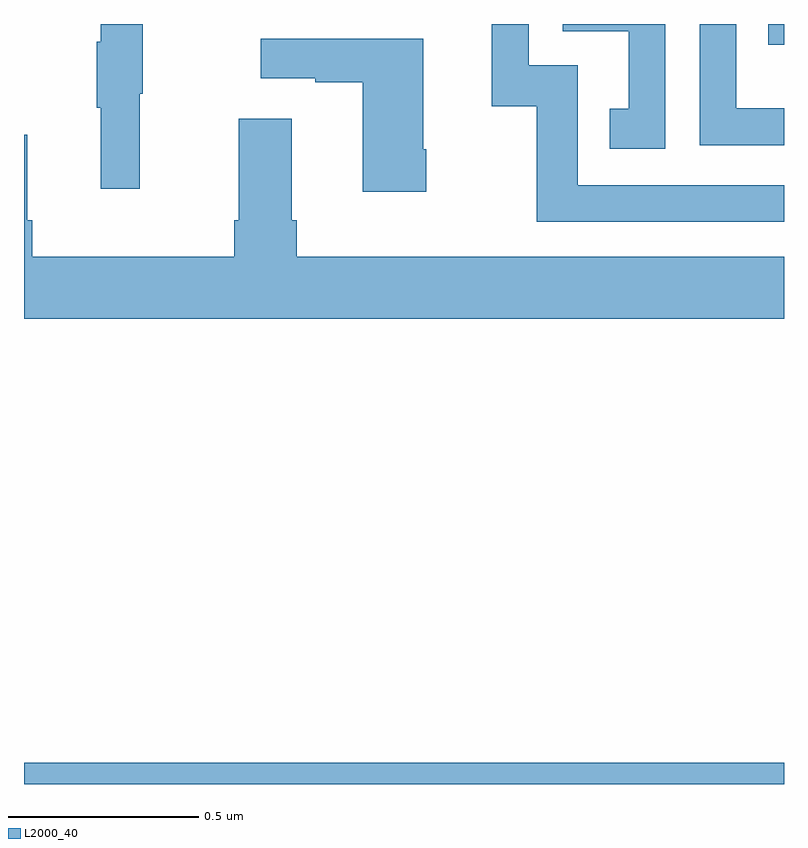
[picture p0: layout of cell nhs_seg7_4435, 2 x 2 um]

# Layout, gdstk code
import gdstk
lib = gdstk.Library(unit=1e-6, precision=1e-09)
def R(c, l, rs):  # rectangles x0, y0, x1, y1
    for r in rs: c.add(gdstk.rectangle(r[:2], r[2:], *l))
def P(c, l, *ps):  # polygons
    for p in ps: c.add(gdstk.Polygon(p, *l))
L2000_40 = (2000, 40)

nhs_seg7_4435 = lib.new_cell('nhs_seg7_4435')
R(nhs_seg7_4435, L2000_40, [(172,1058,174,1058.056), (173.959,1059.945,174,1060)])
P(nhs_seg7_4435, L2000_40, [(174,1059.576),(173.457,1059.576),(173.457,1059.891),(173.328,1059.891),(173.328,1060),(173.231,1060),(173.231,1059.783),(173.349,1059.783),(173.349,1059.48),(174,1059.48)],
  [(174,1059.778),(173.874,1059.778),(173.874,1060),(173.778,1060),(173.778,1059.681),(174,1059.681)],
  [(172.304,1059.816),(172.312,1059.816),(172.312,1060),(172.202,1060),(172.202,1059.953),(172.191,1059.953),(172.191,1059.779),(172.202,1059.779),(172.202,1059.567),(172.304,1059.567)],
  [(173.688,1060),(173.418,1060),(173.418,1059.981),(173.591,1059.981),(173.591,1059.777),(173.542,1059.777),(173.542,1059.672),(173.688,1059.672)],
  [(173.058,1059.67),(173.05,1059.67),(173.05,1059.961),(172.623,1059.961),(172.623,1059.857),(172.766,1059.857),(172.766,1059.847),(172.892,1059.847),(172.892,1059.558),(173.058,1059.558)],
  [(174,1059.388),(172.718,1059.388),(172.718,1059.484),(172.705,1059.484),(172.705,1059.751),(172.565,1059.751),(172.565,1059.484),(172.553,1059.484),(172.553,1059.388),(172.022,1059.388),(172.022,1059.484),(172.009,1059.484),(172.009,1059.709),(172,1059.709),(172,1059.224),(174,1059.224)])

lib.write_gds('nhs_seg7_4435.gds')
